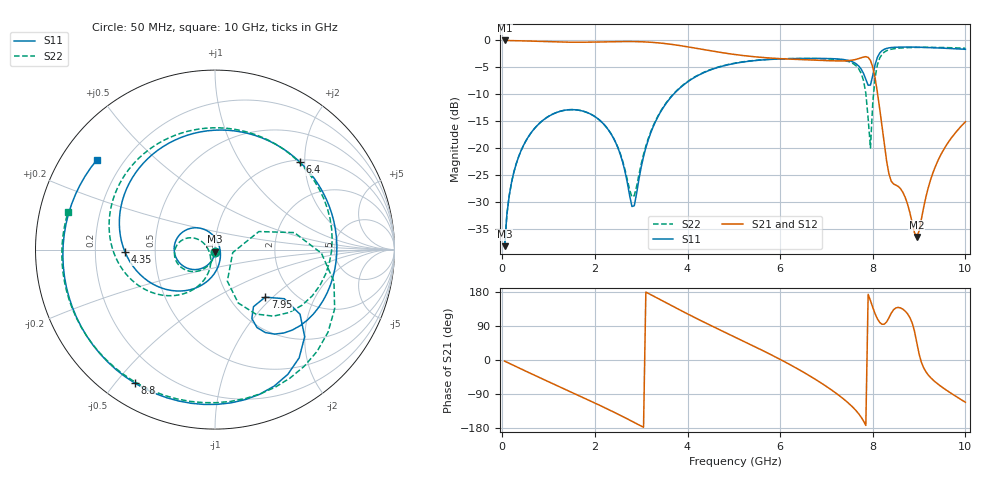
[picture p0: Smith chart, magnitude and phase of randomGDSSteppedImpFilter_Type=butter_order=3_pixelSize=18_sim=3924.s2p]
! freq	dB(S11)	phase(S11)	dB(S12)	phase(S12)
!  dB(S21)	phase(S21)	dB(S22)	phase(S22)
!S-par simulation data
#  GHz  S  DB  R 50
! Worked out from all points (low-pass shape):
!   200 points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, 50 MHz to 10 GHz, reference 50 ohm
!   highest |S21| = -0.01 dB at 50 MHz (marker M1); lowest = -36.5 dB at 8.95 GHz (marker M2)
!   |S21| within 3 dB of the highest: start of sweep to 5.414 GHz
!   lowest |S11| = -38.2 dB at 50 MHz (marker M3), VSWR 1.02, Z = 49.9 - j1.23 ohm
!   |S11| at or under -10 dB: start of sweep to 3.698 GHz
!   |S22| runs from -38.2 to -1.3 dB; largest |S21 - S12| = 0
!   S11 on the Smith chart (normalised r, x): 50 MHz: 1.00, -0.02; 4.35 GHz: 0.33, -0.01; 6.4 GHz: 1.04, +1.89; 7.95 GHz: 1.44, -0.90; 8.8 GHz: 0.09, -0.56; 10 GHz: 0.11, +0.33
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0.05  -38.21 -92.2  -0.01 -3.0  -0.01 -3.0  -38.20 -91.9
0.2  -26.34 -102.4  -0.03 -11.7  -0.03 -11.7  -26.34 -101.1
0.5  -18.81 -121.2  -0.10 -29.1  -0.10 -29.1  -18.80 -117.8
1.75  -13.15 162.8  -0.33 -99.3  -0.33 -99.3  -13.14 177.7
2.4  -18.14 116.7  -0.24 -137.0  -0.24 -137.0  -18.09 150.1
2.8  -30.84 28.1  -0.21 -161.7  -0.21 -161.7  -29.09 -168.4
3.4  -13.56 -110.2  -0.48 159.8  -0.48 159.8  -13.43 -113.5
4.35  -5.99 -178.5  -1.70 100.2  -1.70 100.2  -5.93 -162.6
5.05  -4.22 136.0  -2.65 58.9  -2.65 58.9  -4.17 161.1
5.75  -3.54 90.4  -3.25 17.2  -3.25 17.2  -3.51 123.9
6.4  -3.36 46.0  -3.54 -24.9  -3.54 -24.9  -3.36 84.4
6.7  -3.34 24.5  -3.64 -46.5  -3.64 -46.5  -3.37 63.0
7.55  -3.93 -41.7  -3.67 -122.3  -3.67 -122.3  -4.18 -18.8
7.8  -6.13 -61.7  -3.09 -160.8  -3.09 -160.8  -7.45 -57.8
7.95  -8.29 -43.5  -3.71 156.7  -3.71 156.7  -19.98 -9.4
8  -6.50 -35.3  -4.96 138.9  -4.96 138.9  -11.55 22.3
8.1  -3.14 -44.2  -9.65 108.5  -9.65 108.5  -4.53 -2.0
8.35  -1.38 -78.6  -24.84 111.6  -24.84 111.6  -1.74 -52.6
8.8  -1.23 -121.0  -31.94 112.3  -31.94 112.3  -1.33 -104.3
8.95  -1.25 -133.6  -36.51 46.3  -36.51 46.3  -1.30 -118.0
9.35  -1.37 -165.9  -23.45 -57.9  -23.45 -57.9  -1.30 -150.2
10  -1.65 142.7  -15.10 -111.5  -15.10 -111.5  -1.46 165.7
